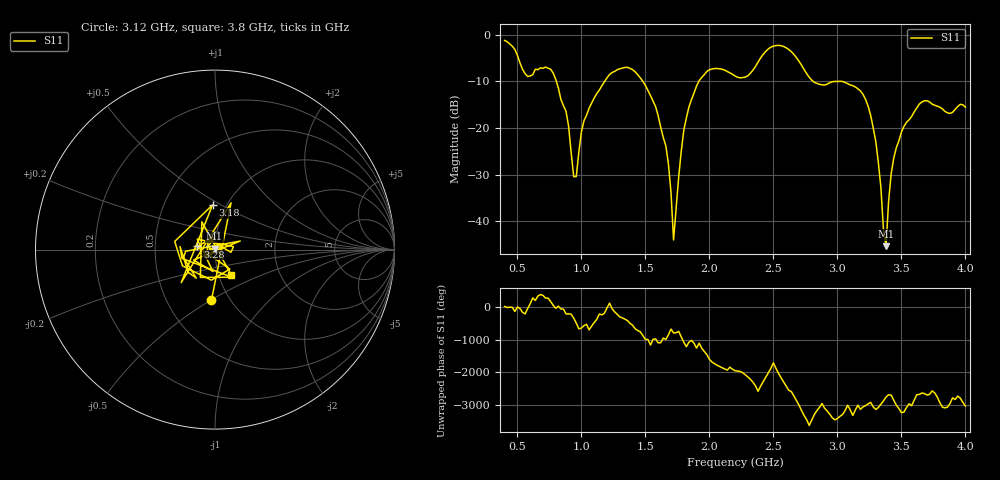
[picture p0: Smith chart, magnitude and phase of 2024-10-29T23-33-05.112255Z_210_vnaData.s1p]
!Created with skrf (http://scikit-rf.org).
# Hz S RI R 50.0
!freq ReS11 ImS11
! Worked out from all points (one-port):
!   181 points, 400 MHz to 4 GHz, reference 50 ohm
!   lowest |S11| = -45.3 dB at 3.38 GHz (marker M1), VSWR 1.01, Z = 49.8 + j0.495 ohm
!   |S11| at or under -10 dB: 804.3 MHz to 1.182 GHz (377.9 MHz wide, 38.1 % of centre); 1.48 GHz to 1.917 GHz (437 MHz wide, 25.7 % of centre); 3.025 GHz to end of sweep (the widest 3 of 4)
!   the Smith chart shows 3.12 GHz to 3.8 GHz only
!   S11 on the Smith chart (normalised r, x): 3.12 GHz: 0.82, -0.51; 3.18 GHz: 0.86, +0.46; 3.28 GHz: 0.82, +0.03; 3.8 GHz: 1.15, -0.33
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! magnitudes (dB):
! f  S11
! 400 MHz  -1.2
! 580 MHz  -9.0
! 760 MHz  -7.4
! 860 MHz  -15.2
! 940 MHz  -30.5
! 960 MHz  -30.4
! 1.02 GHz  -18.5
! 1.3 GHz  -7.3
! 1.58 GHz  -15.5
! 1.68 GHz  -27.8
! 1.72 GHz  -44.0
! 1.76 GHz  -30.5
! 1.82 GHz  -17.9
! 1.92 GHz  -9.8
! 2.2 GHz  -8.9
! 2.5 GHz  -2.5
! 2.66 GHz  -4.2
! 2.82 GHz  -10.2
! 3.1 GHz  -10.8
! 3.12 GHz  -10.9
! 3.18 GHz  -12.1
! 3.28 GHz  -20.0
! 3.38 GHz  -45.3
! 3.4 GHz  -35.8
! 3.44 GHz  -26.5
! 3.56 GHz  -18.3
! 3.8 GHz  -15.5
! 4 GHz  -15.5
